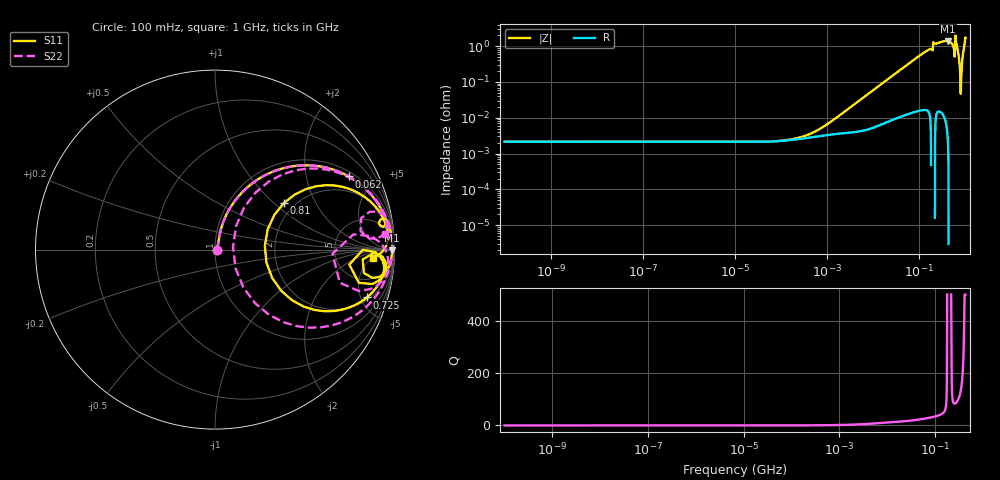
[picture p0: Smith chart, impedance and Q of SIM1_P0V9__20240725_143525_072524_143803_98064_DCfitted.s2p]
! SPDX-FileCopyrightText: Copyright (c) Meta Platforms, Inc. and affiliates.
! SPDX-FileCopyrightText: © 2024 Rivos Inc.
!Generated from: C:\SIPIProj\Olympus\Xtract\Run_20240725_143525\SimFile\SIM1_P0V9__20240725_143525.spd
! Port_1::P0V9
! Port_2::P0V9
!Layout Workbench Version: 23.1.2.10131.459628  200
!Computer Host Name: YANSHENG-LT
!TouchstoneFormatFlag = 1
! GNDNET GND
! NETSLIST P0V9
! Port 1 = U1-K8 P0V9
! Port 2 = PL11-2 P0V9
#	Hz	S	RI	R	0.1
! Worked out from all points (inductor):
!   625 points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, 100 mHz to 1 GHz, reference 0.1 ohm
!   read as one part in series: L = 957 pH near 1.905 MHz
!   highest Q = 783 at 420 MHz (marker M1), where L = 527 pH
!   self-resonance near 794.7 MHz
!   S11 on the Smith chart (normalised r, x): 100 mHz: 1.02, +0.00; 62 MHz: 1.21, +3.53; 725 MHz: 2.25, -5.63; 810 MHz: 1.76, +1.17; 1 GHz: 13, -6
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0.1  0.0106 1.8e-09  0.9894 -1.84e-09  0.9894 -1.84e-09  0.0106 1.8e-09
1318257  0.0183 0.037  0.9817 -0.0374  0.9817 -0.0374  0.0183 0.037
3311311  0.0284 0.0949  0.9716 -0.0959  0.9716 -0.0959  0.0284 0.0949
1.2e7  0.1305 0.2966  0.8694 -0.3003  0.8694 -0.3003  0.1306 0.2967
2.96e7  0.4224 0.4626  0.5773 -0.4717  0.5773 -0.4717  0.4229 0.4626
6.2e7  0.745 0.4073  0.2541 -0.4261  0.2541 -0.4261  0.7463 0.4065
1.68e8  0.9502 0.1687  0.0429 -0.2328  0.0429 -0.2328  0.9531 0.1536
1.9e8  0.9433 0.1305  0.00756 -0.2406  0.00756 -0.2406  0.9264 0.0745
2.04e8  0.9598 0.1608  0.011 -0.1502  0.011 -0.1502  0.9236 0.2022
3.34e8  0.9857 0.0447  0.00776 -0.1437  0.00776 -0.1437  0.9869 0.0454
4.2e8  0.9867 -0.00387  -0.00068 -0.1429  -0.00068 -0.1429  0.9884 -0.00809
5.05e8  0.9797 -0.0599  -0.0132 -0.1638  -0.0132 -0.1638  0.9807 -0.0732
5.75e8  0.9103 -0.1541  -0.1038 -0.2474  -0.1038 -0.2474  0.8672 -0.2197
6.15e8  0.9497 -0.1197  -0.034 -0.1161  -0.034 -0.1161  0.9582 -0.0241
6.7e8  0.9419 -0.1048  -0.0466 -0.2154  -0.0466 -0.2154  0.9439 -0.1783
7.25e8  0.8463 -0.2666  -0.1642 -0.3458  -0.1642 -0.3458  0.8181 -0.34
7.7e8  0.4941 -0.3174  -0.5579 -0.3868  -0.5579 -0.3868  0.3807 -0.4044
7.9e8  0.2866 -0.0734  -0.7932 -0.1093  -0.7932 -0.1093  0.1145 -0.1039
8.1e8  0.3845 0.2602  -0.689 0.2722  -0.689 0.2722  0.2257 0.3177
8.35e8  0.6655 0.3572  -0.3769 0.3943  -0.3769 0.3943  0.5724 0.4513
8.9e8  0.9032 0.2269  -0.1098 0.2753  -0.1098 0.2753  0.8724 0.3068
1e9  0.8787 -0.0472  -0.0716 0.0793  -0.0716 0.0793  0.9471 0.0886
